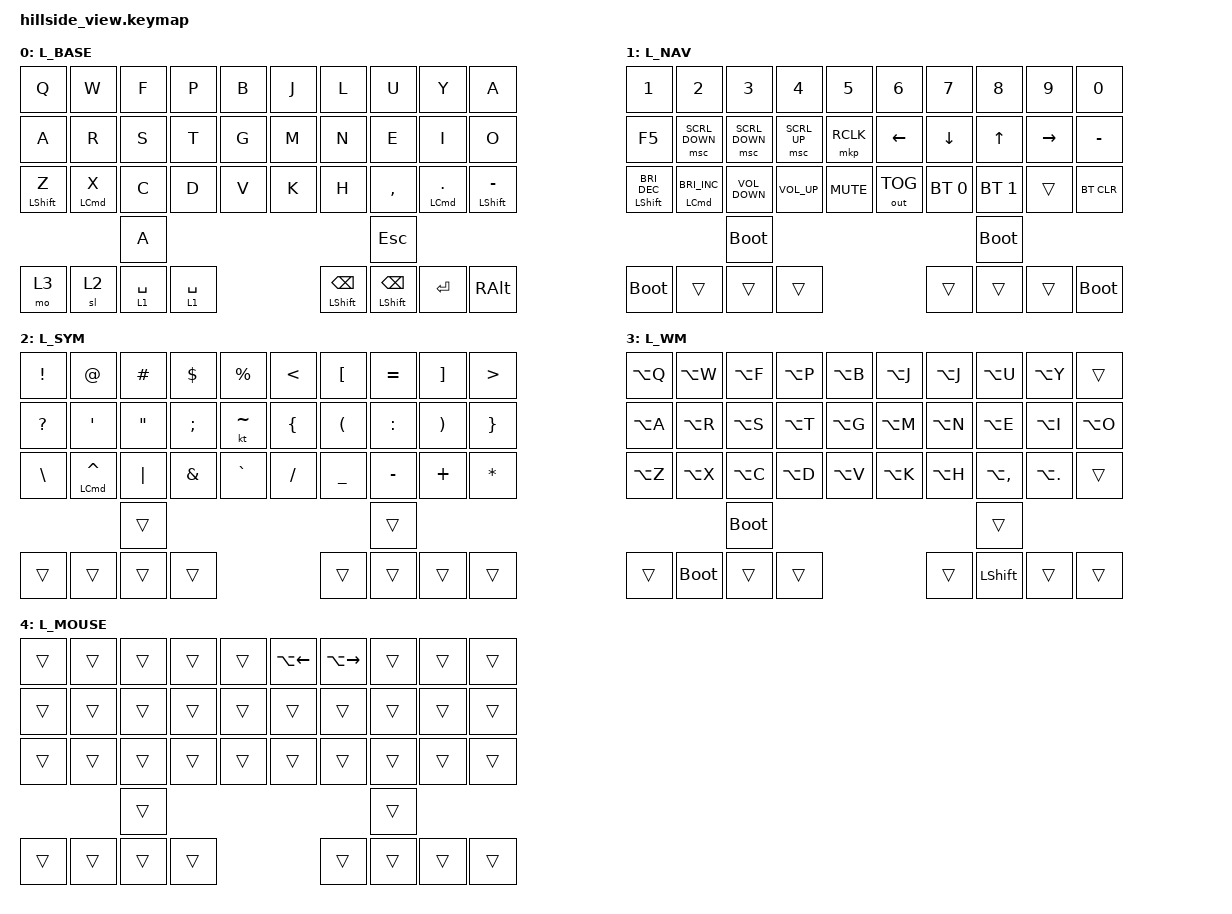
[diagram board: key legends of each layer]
#define L_BASE 0
#define L_NAV 1
#define L_SYM 2
#define L_WM	3
#define L_MOUSE	4

#include <behaviors/num_word.dtsi> // requires auto-layer module
#include "mouse.dtsi"

&chosen { zmk,matrix_transform = &five_column_transform; };

&mt {
    quick-tap-ms = <100>;
    global-quick-tap;
    flavor = "tap-preferred";
    tapping-term-ms = <170>;
};

/ {
    combos {
        compatible = "zmk,combos";

        combo_esc {
            key-positions = <11 12>;
            bindings = <&kp ESC>;
            layers = <0 2>;
        };

        tab {
            key-positions = <2 1>;
            bindings = <&kp TAB>;
            layers = <0>;
        };

        remove-word {
            bindings = <&kp LA(BACKSPACE)>;
            key-positions = <7 8>;
            layers = <0>;
        };

        control {
            bindings = <&kp LEFT_CONTROL>;
            key-positions = <33 38>;
            layers = <0>;
        };

        mouse_lclk {
            bindings = <&mkp LCLK>;
            key-positions = <13 12>;
            layers = <0>;
            require-prior-idle-ms = <50>;
        };

        mouse_rclk {
            bindings = <&momouse 4 RCLK>;
            key-positions = <3 2>;
            layers = <0>;
        };
    };
};

/ {
    /* assign `input-listener` to all pointing devices */
    /* &glidepoint0 on central, &glidepoint1 on peripheral */

    tpad_central_listener {
        compatible = "zmk,input-behavior-listener";
        device = <&glidepoint0>;
        y-invert;
        scale-multiplier = <3>;

        // xy-swap;
        // x-invert;
    };

    tpad_peripheral_listener {
        compatible = "zmk,input-behavior-listener";
        device = <&glidepoint1>;
        layers = <L_BASE L_SYM L_WM>;
        y-invert;
        scale-multiplier = <3>;

        /* NOTE: do NOT override event code here, */
        /*       let Cirque glidepoint reports click from taps */
        // evt-type = <INPUT_EV_REL>;
        // x-input-code = <INPUT_REL_X>;
        // y-input-code = <INPUT_REL_Y>;
    };

    tpad_peripheral_scroll {
        compatible = "zmk,input-behavior-listener";
        device = <&glidepoint1>;
        layers = <L_NAV L_MOUSE>;

        /* NOTE: only apply input-code overriding for INPUT_EV_REL */

        evt-type = <INPUT_EV_REL>;
        x-input-code = <INPUT_REL_HWHEEL>;
        y-input-code = <INPUT_REL_WHEEL>;
        bindings = <&ib_wheel_scaler 1 5>;
    };

    ib_wheel_scaler: ib_wheel_scaler {
        compatible = "zmk,input-behavior-scaler";
        #binding-cells = <2>;
        evt-type = <INPUT_EV_REL>;
        input-code = <INPUT_REL_WHEEL>;
    };
};

// adjust mouse speed in these layers
// &mmv_input_listener {
//   warp {
//     layers = <NAV>;
//     input-processors = <&zip_xy_scaler 3 1>;
//   };
//   precision {
//     layers = <FN>;
//     input-processors = <&zip_xy_scaler 1 2>;
//   };
// };
//
// adjust scroll speed in layers
// &msc_input_listener {
//   warp {
//     layers = <NAV>;
//     input-processors = <&zip_scroll_scaler 2 1>;
//   };
//   precision {
//     layers = <FN>;
//     input-processors = <&zip_scroll_scaler 1 2>;
//   };
// };

#include <behaviors.dtsi>
#include <dt-bindings/zmk/bt.h>
#include <dt-bindings/zmk/keys.h>
#include <dt-bindings/zmk/outputs.h>
#include <dt-bindings/zmk/pointing.h>

/ {
    behaviors {
        momouse: momouse {
            compatible = "zmk,behavior-hold-tap";
            label = "MOMOUSE";
            bindings = <&mo>, <&mkp>;

            #binding-cells = <2>;
            tapping-term-ms = <200>;
        };

        doublemouse: doublemouse {
            compatible = "zmk,behavior-hold-tap";
            label = "DOUBLEMOUSE";
            bindings = <&mkp>, <&mkp>;

            #binding-cells = <2>;
            tapping-term-ms = <200>;
        };
    };

    keymap {
        compatible = "zmk,keymap";

        L_BASE {
            bindings = <
  &kp Q             &kp W               &kp F        &kp P        &kp B  &kp J  &kp L                 &kp U                     &kp Y                    &kp A
  &kp A             &kp R               &kp S        &kp T        &kp G  &kp M  &kp N                 &kp E                     &kp I                    &kp O
  &mt LEFT_SHIFT Z  &mt LEFT_COMMAND X  &kp C        &kp D        &kp V  &kp K  &kp H                 &kp COMMA                 &mt LEFT_COMMAND PERIOD  &mt LEFT_SHIFT MINUS
                                        &kp A                                                         &kp ESCAPE
  &mo 3             &sl 2               &lt 1 SPACE  &lt 1 SPACE                &mt LSHIFT BACKSPACE  &mt LEFT_SHIFT BACKSPACE  &kp ENTER                &kp RIGHT_ALT
            >;
        };

        L_NAV {
            bindings = <
  &kp N1                           &kp N2                             &kp N3             &kp N4           &kp N5      &kp N6        &kp N7        &kp N8        &kp N9     &kp N0
  &kp F5                           &msc SCRL_DOWN                     &msc SCRL_DOWN     &msc SCRL_UP     &mkp RCLK   &kp LEFT      &kp DOWN      &kp UP        &kp RIGHT  &kp MINUS
  &mt LEFT_SHIFT C_BRIGHTNESS_DEC  &mt LEFT_COMMAND C_BRIGHTNESS_INC  &kp C_VOLUME_DOWN  &kp C_VOLUME_UP  &kp K_MUTE  &out OUT_TOG  &bt BT_SEL 0  &bt BT_SEL 1  &trans     &bt BT_CLR
                                                                      &bootloader                                                                 &bootloader
  &bootloader                      &trans                             &trans             &trans                                     &trans        &trans        &trans     &bootloader
            >;
        };

        L_SYM {
            bindings = <
  &kp EXCL       &kp AT                  &kp HASH           &kp DOLLAR     &kp PERCENT  &kp LESS_THAN   &kp LEFT_BRACKET      &kp EQUAL  &kp RIGHT_BRACKET      &kp GREATER_THAN
  &kp QUESTION   &kp SQT                 &kp DOUBLE_QUOTES  &kp SEMI       &kt TILDE    &kp LEFT_BRACE  &kp LEFT_PARENTHESIS  &kp COLON  &kp RIGHT_PARENTHESIS  &kp RIGHT_BRACE
  &kp BACKSLASH  &mt LEFT_COMMAND CARET  &kp PIPE           &kp AMPERSAND  &kp GRAVE    &kp SLASH       &kp UNDER             &kp MINUS  &kp PLUS               &kp STAR
                                         &trans                                                                               &trans
  &trans         &trans                  &trans             &trans                                      &trans                &trans     &trans                 &trans
            >;
        };

        L_WM {
            bindings = <
  &kp LA(Q)  &kp LA(W)    &kp LA(F)    &kp LA(P)  &kp LA(B)  &kp LA(J)  &kp LA(J)  &kp LA(U)       &kp LA(Y)       &trans
  &kp LA(A)  &kp LA(R)    &kp LA(S)    &kp LA(T)  &kp LA(G)  &kp LA(M)  &kp LA(N)  &kp LA(E)       &kp LA(I)       &kp LA(O)
  &kp LA(Z)  &kp LA(X)    &kp LA(C)    &kp LA(D)  &kp LA(V)  &kp LA(K)  &kp LA(H)  &kp LA(COMMA)   &kp LA(PERIOD)  &trans
                          &bootloader                                              &trans
  &trans     &bootloader  &trans       &trans                           &trans     &kp LEFT_SHIFT  &trans          &trans
            >;
        };

        L_MOUSE {
            bindings = <
  &trans  &trans  &trans  &trans  &trans  &kp LA(LEFT_ARROW)  &kp LA(RIGHT)  &trans  &trans  &trans
  &trans  &trans  &trans  &trans  &trans  &trans              &trans         &trans  &trans  &trans
  &trans  &trans  &trans  &trans  &trans  &trans              &trans         &trans  &trans  &trans
                  &trans                                                     &trans
  &trans  &trans  &trans  &trans                              &trans         &trans  &trans  &trans
            >;
        };
    };
};
